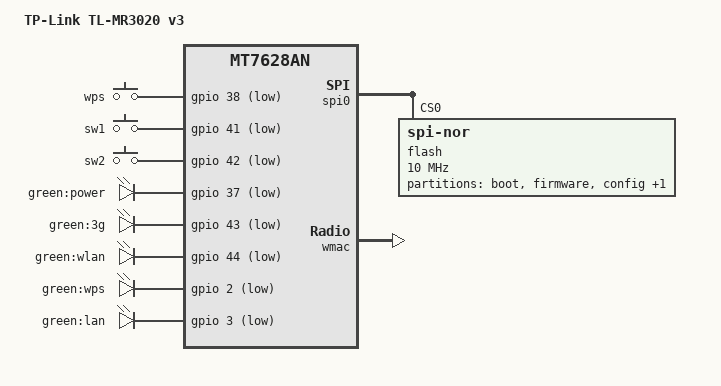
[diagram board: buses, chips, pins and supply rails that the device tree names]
#include "mt7628an.dtsi"

#include <dt-bindings/gpio/gpio.h>
#include <dt-bindings/input/input.h>

/ {
	compatible = "tplink,tl-mr3020-v3", "mediatek,mt7628an-soc";
	model = "TP-Link TL-MR3020 v3";

	aliases {
		led-boot = &led_power;
		led-failsafe = &led_power;
		led-running = &led_power;
		led-upgrade = &led_power;
	};

	chosen {
		bootargs = "console=ttyS0,115200";
	};

	keys {
		compatible = "gpio-keys";

		wps {
			label = "wps";
			gpios = <&gpio 38 GPIO_ACTIVE_LOW>;
			linux,code = <KEY_WPS_BUTTON>;
		};

		modec1 {
			label = "sw1";
			gpios = <&gpio 41 GPIO_ACTIVE_LOW>;
			linux,code = <BTN_0>;
		};

		modec2 {
			label = "sw2";
			gpios = <&gpio 42 GPIO_ACTIVE_LOW>;
			linux,code = <BTN_1>;
		};
	};

	leds {
		compatible = "gpio-leds";

		led_power: power {
			label = "green:power";
			gpios = <&gpio 37 GPIO_ACTIVE_LOW>;
			default-state = "on";
		};

		wan {
			label = "green:3g";
			gpios = <&gpio 43 GPIO_ACTIVE_LOW>;
			trigger-sources = <&ehci_port1>, <&ohci_port1>;
			linux,default-trigger = "usbport";
		};

		wlan {
			label = "green:wlan";
			gpios = <&gpio 44 GPIO_ACTIVE_LOW>;
			linux,default-trigger = "phy0tpt";
		};

		wps {
			label = "green:wps";
			gpios = <&gpio 2 GPIO_ACTIVE_LOW>;
		};

		lan {
			label = "green:lan";
			gpios = <&gpio 3 GPIO_ACTIVE_LOW>;
		};
	};
};

&spi0 {
	status = "okay";

	flash@0 {
		compatible = "jedec,spi-nor";
		reg = <0>;
		spi-max-frequency = <10000000>;

		partitions {
			compatible = "fixed-partitions";
			#address-cells = <1>;
			#size-cells = <1>;

			partition@0 {
				label = "boot";
				reg = <0x0 0x20000>;
				read-only;
			};

			partition@20000 {
				compatible = "tplink,firmware";
				label = "firmware";
				reg = <0x20000 0x7a0000>;
			};

			partition@7c0000 {
				label = "config";
				reg = <0x7c0000 0x10000>;
				read-only;
			};

			factory: partition@7d0000 {
				label = "factory";
				reg = <0x7d0000 0x30000>;
				read-only;
			};
		};
	};
};

&state_default {
	gpio {
		groups = "i2s", "refclk", "wdt", "p2led_an", "p1led_an", "p0led_an", "wled_an";
		function = "gpio";
	};
};

&wmac {
	status = "okay";
	mtd-mac-address = <&factory 0xf100>;
	mediatek,mtd-eeprom = <&factory 0x20000>;
};

&ethernet {
	mtd-mac-address = <&factory 0xf100>;
};
